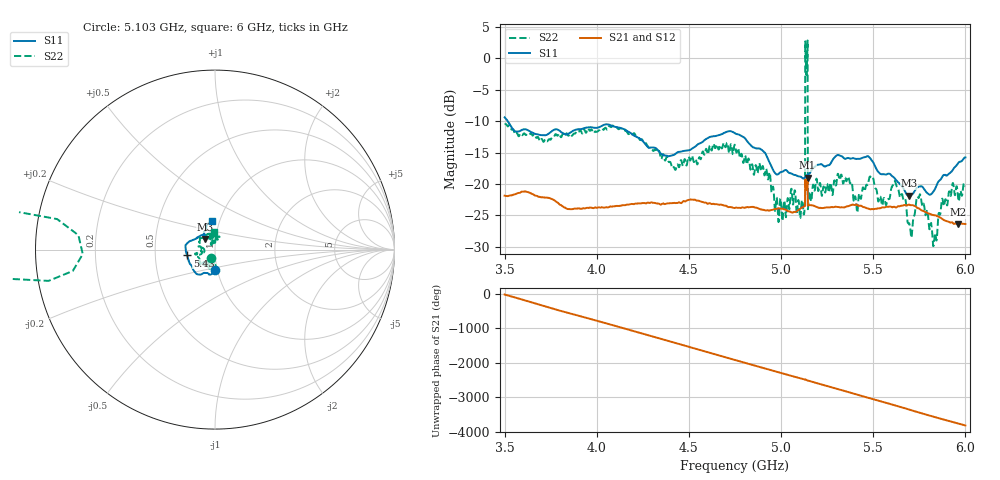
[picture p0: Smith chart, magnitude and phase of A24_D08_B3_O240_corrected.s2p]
! Created with skrf 1.9.0 (http://scikit-rf.org).
# Hz S RI R 50.0
!freq ReS11 ImS11 ReS21 ImS21 ReS12 ImS12 ReS22 ImS22
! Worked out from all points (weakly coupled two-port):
!   1601 points, 3.5 GHz to 6 GHz, reference 50 ohm
!   highest |S21| = -19.00 dB at 5.144 GHz (marker M1); lowest = -26.5 dB at 5.959 GHz (marker M2)
!   lowest |S11| = -21.9 dB at 5.694 GHz (marker M3), VSWR 1.17, Z = 44.5 + j5.25 ohm
!   |S11| at or under -10 dB: 3.517 GHz to end of sweep
!   |S22| runs from -29.9 to 2.9 dB; largest |S21 - S12| = 0.0012
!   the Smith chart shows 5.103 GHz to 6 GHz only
!   S11 on the Smith chart (normalised r, x): 5.103 GHz: 0.98, -0.23; 5.43 GHz: 0.73, -0.05; 6 GHz: 0.92, +0.31
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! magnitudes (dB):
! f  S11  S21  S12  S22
! 3.5 GHz  -9.4  -21.9  -21.9  -10.5
! 3.917 GHz  -11.3  -24.0  -24.0  -11.8
! 4.334 GHz  -14.7  -23.1  -23.1  -14.8
! 4.75 GHz  -11.9  -23.9  -23.8  -13.8
! 4.928 GHz  -16.0  -24.2  -24.2  -19.3
! 4.978 GHz  -18.5  -24.0  -24.0  -22.5
! 5.103 GHz  -18.8  -24.0  -24.0  -25.4
! 5.117 GHz  -19.1  -23.8  -23.7  -23.1
! 5.131 GHz  -18.8  -19.3  -19.3  2.7
! 5.144 GHz  -18.5  -19.0  -19.0  2.9
! 5.158 GHz  -18.2  -23.4  -23.3  -21.7
! 5.167 GHz  -17.7  -23.4  -23.4  -21.9
! 5.43 GHz  -16.0  -23.5  -23.4  -22.2
! 5.489 GHz  -16.2  -24.1  -24.0  -19.0
! 5.584 GHz  -18.4  -23.6  -23.6  -22.4
! 5.623 GHz  -19.3  -23.8  -23.7  -20.1
! 5.694 GHz  -21.9  -23.3  -23.3  -26.3
! 5.748 GHz  -20.4  -23.9  -23.9  -22.1
! 5.834 GHz  -20.9  -25.0  -25.0  -28.0
! 5.88 GHz  -18.6  -25.7  -25.7  -23.1
! 5.959 GHz  -16.7  -26.5  -26.4  -21.9
! 6 GHz  -15.8  -26.4  -26.4  -20.3
